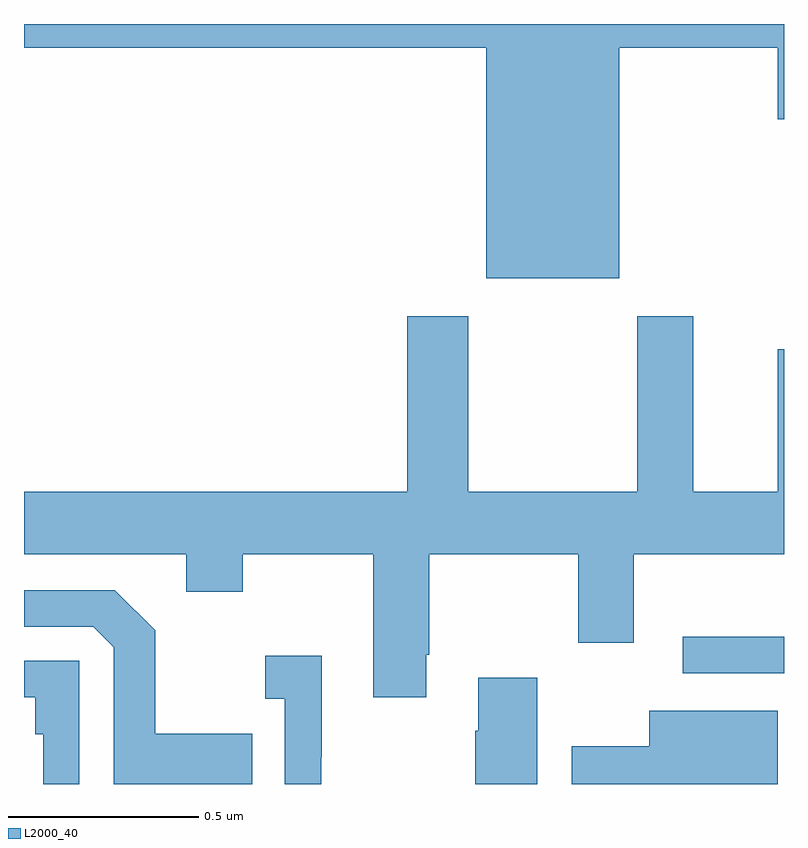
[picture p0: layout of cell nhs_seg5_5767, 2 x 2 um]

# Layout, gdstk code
import gdstk
lib = gdstk.Library(unit=1e-6, precision=1e-09)
def R(c, l, rs):  # rectangles x0, y0, x1, y1
    for r in rs: c.add(gdstk.rectangle(r[:2], r[2:], *l))
def P(c, l, *ps):  # polygons
    for p in ps: c.add(gdstk.Polygon(p, *l))
L2000_40 = (2000, 40)

nhs_seg5_5767 = lib.new_cell('nhs_seg5_5767')
R(nhs_seg5_5767, L2000_40, [(188.733,879.09,189,879.186)])
P(nhs_seg5_5767, L2000_40, [(188.566,880.736),(188.984,880.736),(188.984,880.548),(189,880.548),(189,880.799),(187,880.799),(187,880.736),(188.216,880.736),(188.216,880.13),(188.566,880.13)],
  [(188.059,879.139),(188.067,879.139),(188.067,879.404),(188.458,879.404),(188.458,879.171),(188.605,879.171),(188.605,879.404),(189,879.404),(189,879.943),(188.984,879.943),(188.984,879.568),(188.761,879.568),(188.761,880.03),(188.614,880.03),(188.614,879.568),(188.169,879.568),(188.169,880.03),(188.009,880.03),(188.009,879.568),(187,879.568),(187,879.404),(187.427,879.404),(187.427,879.305),(187.575,879.305),(187.575,879.404),(187.919,879.404),(187.919,879.027),(188.059,879.027)],
  [(187.601,878.931),(187.345,878.931),(187.345,879.203),(187.239,879.309),(187,879.309),(187,879.213),(187.182,879.213),(187.236,879.159),(187.236,878.799),(187.601,878.799)],
  [(187.782,878.869),(187.783,878.869),(187.783,879.136),(187.635,879.136),(187.635,879.023),(187.686,879.023),(187.686,878.799),(187.782,878.799)],
  [(187.146,879.123),(187,879.123),(187,879.027),(187.03,879.027),(187.03,878.93),(187.05,878.93),(187.05,878.799),(187.146,878.799)],
  [(188.35,879.079),(188.195,879.079),(188.195,878.939),(188.188,878.939),(188.188,878.799),(188.35,878.799)],
  [(188.983,878.992),(188.645,878.992),(188.645,878.899),(188.442,878.899),(188.442,878.799),(188.983,878.799)])

lib.write_gds('nhs_seg5_5767.gds')
